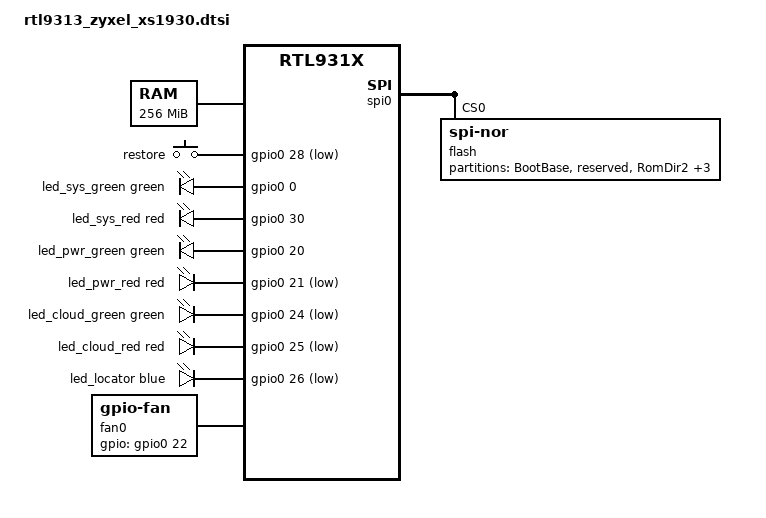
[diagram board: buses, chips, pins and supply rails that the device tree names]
// SPDX-License-Identifier: GPL-2.0-or-later
/dts-v1/;

#include "rtl931x.dtsi"

#include <dt-bindings/input/input.h>
#include <dt-bindings/gpio/gpio.h>
#include <dt-bindings/leds/common.h>
#include <dt-bindings/mux/mux.h>

/ {
	aliases {
		label-mac-device = &ethernet0;
		led-boot = &led_sys_green;
		led-failsafe = &led_sys_red;
		led-running = &led_sys_green;
		led-upgrade = &led_sys_green;
	};

	chosen {
		bootargs = "console=ttyS0,115200 earlycon";
	};

	memory@0 {
		device_type = "memory";
		reg = <0x00000000 0x10000000>;
	};

	keys {
		compatible = "gpio-keys";

		key-restore {
			label = "restore";
			gpios = <&gpio0 28 GPIO_ACTIVE_LOW>;
			linux,code = <BTN_0>;
		};
	};

	leds: leds {
		compatible = "gpio-leds";
		pinctrl-names = "default";
		pinctrl-0 = <&pinmux_disable_sys_led>;

		led_sys_green: led-0 {
			color = <LED_COLOR_ID_GREEN>;
			function = LED_FUNCTION_INDICATOR;
			gpios = <&gpio0 0 GPIO_ACTIVE_HIGH>;
		};

		led_sys_red: led-1 {
			color = <LED_COLOR_ID_RED>;
			function = LED_FUNCTION_INDICATOR;
			gpios = <&gpio0 30 GPIO_ACTIVE_HIGH>;
		};

		led_pwr_green: led-2 {
			color = <LED_COLOR_ID_GREEN>;
			function = LED_FUNCTION_POWER;
			gpios = <&gpio0 20 GPIO_ACTIVE_HIGH>;
			default-state = "on";
		};
		led_pwr_red: led-3 {
			color = <LED_COLOR_ID_RED>;
			function = LED_FUNCTION_POWER;
			gpios = <&gpio0 21 GPIO_ACTIVE_LOW>;
		};
		led_cloud_green: led-4 {
			color = <LED_COLOR_ID_GREEN>;
			function = "cloud";
			gpios = <&gpio0 24 GPIO_ACTIVE_LOW>;
		};
		led_cloud_red: led-5 {
			color = <LED_COLOR_ID_RED>;
			function = "cloud";
			gpios = <&gpio0 25 GPIO_ACTIVE_LOW>;
		};
		led_locator: led-6 {
			color = <LED_COLOR_ID_BLUE>;
			function = "locator";
			gpios = <&gpio0 26 GPIO_ACTIVE_LOW>;
		};
	};

	led_set: led_set@0 {
		compatible = "realtek,rtl9300-leds";
		active-low;

		/* Blue | Green | Red */
		led_set0 = <(RTL93XX_LED_SET_10G | RTL93XX_LED_SET_5G | RTL93XX_LED_SET_2P5G |
			     RTL93XX_LED_SET_LINK | RTL93XX_LED_SET_ACT)
			    (RTL93XX_LED_SET_2P5G | RTL93XX_LED_SET_1G | RTL93XX_LED_SET_100M |
			     RTL93XX_LED_SET_LINK | RTL93XX_LED_SET_ACT)
			    (RTL93XX_LED_SET_5G | RTL93XX_LED_SET_100M | RTL93XX_LED_SET_LINK |
			     RTL93XX_LED_SET_ACT)>;
	};

	fan0: gpio-fan {
		compatible = "gpio-fan";
		gpios = <&gpio0 22 GPIO_ACTIVE_HIGH>;

		gpio-fan,speed-map =
			<3600 0>,
			<9000 1>;
		#cooling-cells = <2>;
	};
};

&spi0 {
	status = "okay";

	flash@0 {
		compatible = "jedec,spi-nor";
		reg = <0>;

		partitions {
			compatible = "fixed-partitions";
			#address-cells = <1>;
			#size-cells = <1>;

			partition@0 {
				label = "BootBase";
				reg = <0x0 0xa0000>;
				read-only;

				nvmem-layout {
					compatible = "fixed-layout";
					#address-cells = <1>;
					#size-cells = <1>;

					factory_macaddr: macaddr@9fff8 {
						reg = <0x9fff8 0x6>;
					};
				};
			};

			/* DbgArea */
			partition@a0000 {
				label = "reserved";
				reg = <0xa0000 0x20000>;
				read-only;
			};

			partition@c0000 {
				label = "RomDir2";
				reg = <0xc0000 0x120000>;
				read-only;

				/* boot image index at offset 0x151 */
				nvmem-layout {
					compatible = "fixed-layout";
					#address-cells = <1>;
					#size-cells = <1>;

					boot_selector: boot-selector@151 {
						reg = <0x151 0x1>;
					};
				};
			};

			/* BootBase has dual-image support. Second partition starts at
			 * 0x1280000 and has same layout as first partition but smaller size
			 */
			partition@280000 {
				reg = <0x280000 0x1d80000>;
				label = "factory";

				compatible = "fixed-partitions";
				#address-cells = <1>;
				#size-cells = <1>;

				partition@0 {
					label = "loader";
					reg = <0x0 0x10000>;
				};

				partition@10000 {
					label = "firmware";
					reg = <0x10000 0x1d70000>;
					compatible = "openwrt,uimage", "denx,uimage";
				};
			};
		};
	};
};

&ethernet0 {
	nvmem-cells = <&factory_macaddr 0>;
	nvmem-cell-names = "mac-address";
};
